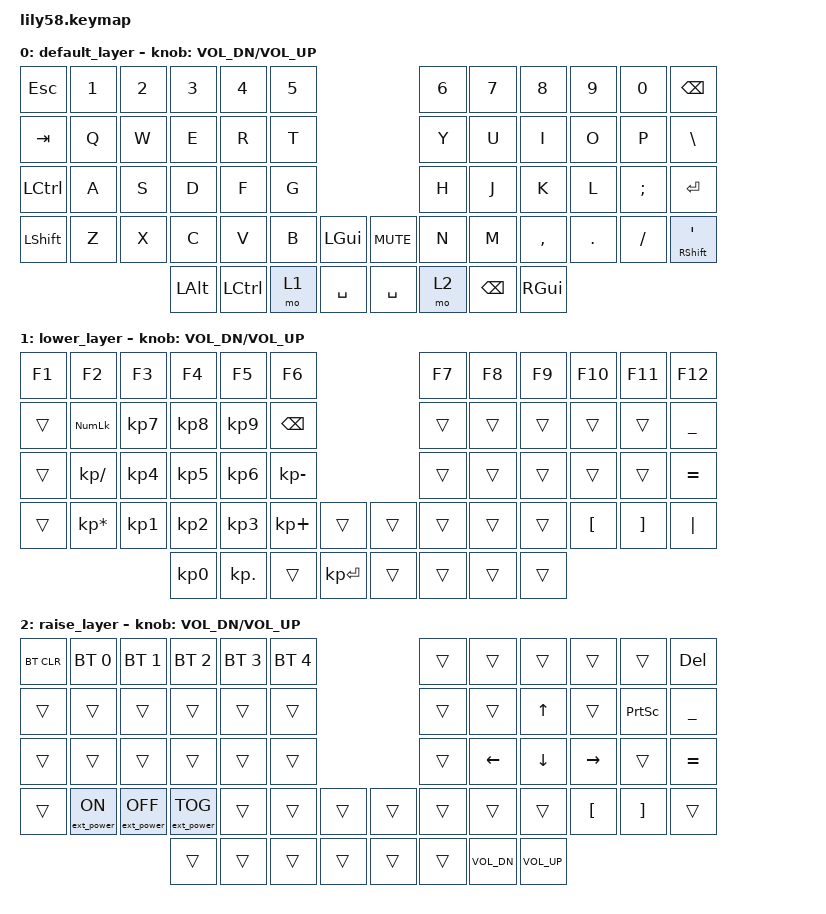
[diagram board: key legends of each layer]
/*
 * Copyright (c) 2020 The ZMK Contributors
 *
 * SPDX-License-Identifier: MIT
 */

#include <behaviors.dtsi>
#include <dt-bindings/zmk/keys.h>
#include <dt-bindings/zmk/bt.h>
#include <dt-bindings/zmk/ext_power.h>

/ {
	keymap {
		compatible = "zmk,keymap";

		default_layer {
// ------------------------------------------------------------------------------------------------------------
// |  ESC  |  1  |  2  |  3   |  4   |  5   |                   |  6   |  7    |  8    |  9   |   0   |  BSPC |
// |  TAB  |  Q  |  W  |  E   |  R   |  T   |                   |  Y   |  U    |  I    |  O   |   P   |  BSLH |
// |  CTRL |  A  |  S  |  D   |  F   |  G   |                   |  H   |  J    |  K    |  L   |   ;   |  RET  |
// | SHIFT |  Z  |  X  |  C   |  V   |  B   |   GUI  |  | MUTE  |  N   |  M    |  ,    |  .   |   /   |SQT/SFT|
//                     | ALT  | CTRL | LOWER|  SPACE |  | SPACE | RAISE| BSPC  | GUI   |
			bindings = <
&kp ESC   &kp N1 &kp N2 &kp N3   &kp N4   &kp N5                     &kp N6 &kp N7   &kp N8    &kp N9  &kp N0   &kp BSPC
&kp TAB   &kp Q  &kp W  &kp E    &kp R    &kp T                      &kp Y  &kp U    &kp I     &kp O   &kp P    &kp BSLH
&kp LCTRL &kp A  &kp S  &kp D    &kp F    &kp G                      &kp H  &kp J    &kp K     &kp L   &kp SEMI &kp RET
&kp LSHFT &kp Z  &kp X  &kp C    &kp V    &kp B  &kp LGUI &kp C_MUTE &kp N  &kp M    &kp COMMA &kp DOT &kp FSLH &mt RSHFT SQT
                        &kp LALT &kp LCTRL &mo 1  &kp SPACE &kp SPACE  &mo 2  &kp BSPC &kp RGUI
			>;

			sensor-bindings = <&inc_dec_kp C_VOL_DN C_VOL_UP>;
		};

		lower_layer {
// ------------------------------------------------------------------------------------------------------------
// |  F1   |  F2 |  F3 |  F4  |  F5  |  F6  |                   |  F7  |  F8   |  F9   |  F10 |  F11  |  F12  |
// |  F1   | NLCK|  7  |  8   |  9   |  BSPC|                   |      |       |       |      |       |  "_"  |
// |   `   |  /  |  4  |  5   |  6   |  -   |                   |      |       |       |      |       |  EQUAL|
// |       |  *  |  1  |  2   |  3   |  +   |        |  |       |      |  _    |       |  [   |   ]   |  "|"  |
//                     |  0   |  .   |      |  ENTER |  |       |      |       |       |
			bindings = <
&kp F1     &kp F2           &kp F3            &kp F4            &kp F5       &kp F6        		        		  &kp F7    &kp F8    &kp F9    &kp F10   &kp F11   &kp F12
&trans     &kp KP_NLCK      &kp KP_N7 		  &kp KP_N8			&kp KP_N9    &kp BSPC      		       			  &trans    &trans    &trans    &trans    &trans    &kp UNDER
&trans	   &kp KP_DIVIDE    &kp KP_N4 		  &kp KP_N5			&kp KP_N6    &kp KP_MINUS  			      		  &trans    &trans    &trans 	&trans    &trans	&kp EQUAL
&trans     &kp KP_MULTIPLY  &kp KP_N1 		  &kp KP_N2			&kp KP_N3  	 &kp KP_PLUS   &trans 		  &trans  &trans    &trans	  &trans    &kp LBKT  &kp RBKT  &kp PIPE
                                 	          &kp KP_N0         &kp KP_DOT   &trans    	   &kp KP_ENTER   &trans  &trans    &trans    &trans
			>;

			sensor-bindings = <&inc_dec_kp C_VOL_DN C_VOL_UP>;
		};

		raise_layer {
// ------------------------------------------------------------------------------------------------------------
// | BTCLR | BT0 | BT1 |  BT2 |  BT3 |  BT4 |                   |      |       |       |      |       |  DEL  |
// |       |     |     |      |      |      |                   |      |       |  UP   |      | PSCRN |  "_"  |
// |       |     |     |      |      |      |                   |      |  LEFT |  DOWN | RIGHT|       |  EQUAL|
// |       |     |     |      |      |      |        |  |       |      |       |       |  [   |   ]   |       |
//                     |      |      |      |        |  |       |      | VOL_UP| VOL_DN|
			bindings = <
&bt BT_CLR  &bt BT_SEL 0  	&bt BT_SEL 1 	  &bt BT_SEL 2   	&bt BT_SEL 3    &bt BT_SEL 4                 &trans			&trans 		  	  &trans 		 	&trans  		&trans  		&kp DEL 
&trans		&trans 		  	&trans 		 	  &trans  			&trans  		&trans                       &trans   		&trans    		  &kp UP    		&trans    		&kp PSCRN    	&kp UNDER
&trans		&trans 		  	&trans 		  	  &trans  		  	&trans  		&trans                       &trans   		&kp LEFT  		  &kp DOWN  		&kp RIGHT 		&trans	 		&kp EQUAL
&trans     &ext_power EP_ON &ext_power EP_OFF &ext_power EP_TOG &trans     		&trans    &trans   &trans    &trans   		&trans			  &trans    		&kp LBKT  		&kp RBKT    	&trans
                       						  &trans  			&trans 		    &trans    &trans   &trans    &trans  		&kp C_VOL_DN  	  &kp C_VOL_UP
			>;

			sensor-bindings = <&inc_dec_kp C_VOL_DN C_VOL_UP>;
		};
	};
};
